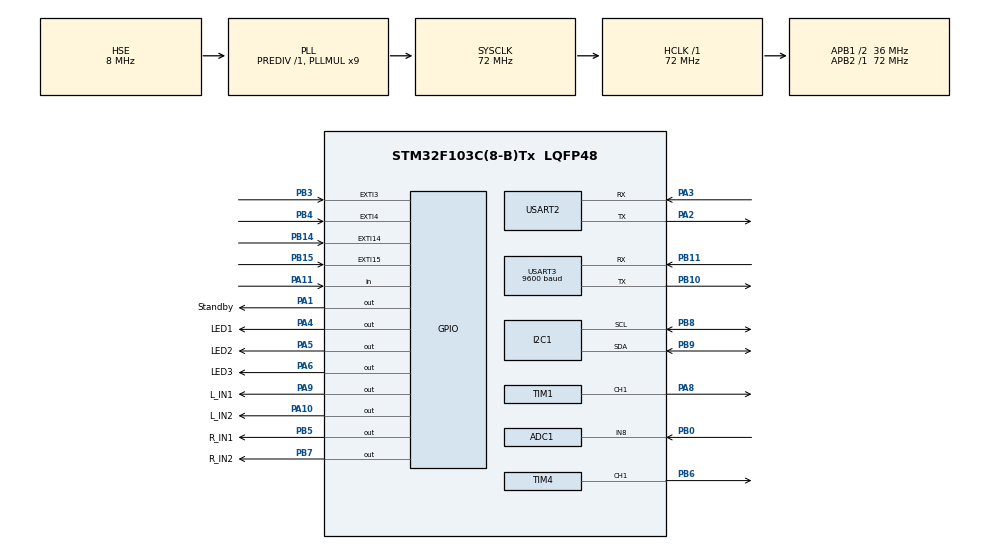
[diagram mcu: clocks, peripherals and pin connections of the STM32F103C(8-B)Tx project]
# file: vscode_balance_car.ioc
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ADC1.Channel-10\#ChannelInjectedConversion=ADC_CHANNEL_8
ADC1.EnableInjectedConversion=ENABLE
ADC1.EnableRegularConversion=DISABLE
ADC1.ExternalTrigInjecConv=ADC_EXTERNALTRIGINJECCONV_T2_TRGO
ADC1.InjNumberOfConversion=1
ADC1.InjectedOffset-10\#ChannelInjectedConversion=0
ADC1.InjectedRank-10\#ChannelInjectedConversion=1
ADC1.SamplingTime-10\#ChannelInjectedConversion=ADC_SAMPLETIME_1CYCLE_5
ADC1.master=1
I2C1.I2C_Mode=I2C_Fast
Mcu.Family=STM32F1
Mcu.Name=STM32F103C(8-B)Tx
Mcu.Package=LQFP48
NVIC.ADC1_2_IRQn=true\:2\:0\:true\:false\:true\:true\:true\:true
NVIC.EXTI15_10_IRQn=true\:0\:0\:false\:false\:true\:true\:true\:true
NVIC.EXTI3_IRQn=true\:0\:0\:false\:false\:true\:true\:true\:true
NVIC.PriorityGroup=NVIC_PRIORITYGROUP_4
NVIC.USART3_IRQn=true\:0\:0\:false\:false\:true\:true\:true\:true
PA1.GPIO_Label=Standby
PA1.Signal=GPIO_Output
PA10.GPIO_Label=L_IN2
PA10.GPIO_ModeDefaultOutputPP=GPIO_MODE_OUTPUT_PP
PA10.Signal=GPIO_Output
PA11.GPIO_PuPd=GPIO_PULLUP
PA11.Signal=GPIO_Input
PA13.Mode=Serial_Wire
PA13.Signal=SYS_JTMS-SWDIO
PA14.Mode=Serial_Wire
PA14.Signal=SYS_JTCK-SWCLK
PA2.GPIO_Speed=GPIO_SPEED_FREQ_HIGH
PA2.Mode=Asynchronous
PA2.Signal=USART2_TX
PA3.GPIO_PuPd=GPIO_PULLUP
PA3.Mode=Asynchronous
PA3.Signal=USART2_RX
PA4.GPIO_Label=LED1
PA4.Signal=GPIO_Output
PA5.GPIO_Label=LED2
PA5.Signal=GPIO_Output
PA6.GPIO_Label=LED3
PA6.Signal=GPIO_Output
PA8.Signal=S_TIM1_CH1
PA9.GPIO_Label=L_IN1
PA9.GPIO_ModeDefaultOutputPP=GPIO_MODE_OUTPUT_PP
PA9.Signal=GPIO_Output
PB0.Signal=ADCx_IN8
PB10.GPIO_Speed=GPIO_SPEED_FREQ_LOW
PB10.Mode=Asynchronous
PB10.Signal=USART3_TX
PB11.GPIO_PuPd=GPIO_PULLUP
PB11.Mode=Asynchronous
PB11.Signal=USART3_RX
PB14.GPIO_ModeDefaultEXTI=GPIO_MODE_IT_RISING_FALLING
PB14.GPIO_PuPd=GPIO_PULLUP
PB14.Signal=GPXTI14
PB15.GPIO_PuPd=GPIO_PULLUP
PB15.Signal=GPXTI15
PB3.GPIO_ModeDefaultEXTI=GPIO_MODE_IT_RISING_FALLING
PB3.GPIO_PuPd=GPIO_PULLUP
PB3.Signal=GPXTI3
PB4.GPIO_PuPd=GPIO_PULLUP
PB4.Signal=GPXTI4
PB5.GPIO_Label=R_IN1
PB5.Signal=GPIO_Output
PB6.Signal=S_TIM4_CH1
PB7.GPIO_Label=R_IN2
PB7.Signal=GPIO_Output
PB8.GPIO_Speed=GPIO_SPEED_FREQ_LOW
PB8.Mode=I2C
PB8.Signal=I2C1_SCL
PB9.GPIO_Speed=GPIO_SPEED_FREQ_LOW
PB9.Mode=I2C
PB9.Signal=I2C1_SDA
PD0-OSC_IN.Mode=HSE-External-Oscillator
PD0-OSC_IN.Signal=RCC_OSC_IN
PD1-OSC_OUT.Mode=HSE-External-Oscillator
PD1-OSC_OUT.Signal=RCC_OSC_OUT
ProjectManager.HeapSize=0x200
ProjectManager.StackSize=0x400
ProjectManager.TargetToolchain=CMake
RCC.ADCPresc=RCC_ADCPCLK2_DIV6
RCC.AHBFreq_Value=72000000
RCC.APB1CLKDivider=RCC_HCLK_DIV2
RCC.APB1Freq_Value=36000000
RCC.APB1TimFreq_Value=72000000
RCC.APB2Freq_Value=72000000
RCC.APB2TimFreq_Value=72000000
RCC.HCLKFreq_Value=72000000
RCC.PLLMUL=RCC_PLL_MUL9
RCC.PLLSourceVirtual=RCC_PLLSOURCE_HSE
RCC.SYSCLKFreq_VALUE=72000000
RCC.SYSCLKSource=RCC_SYSCLKSOURCE_PLLCLK
RCC.USBFreq_Value=72000000
SH.ADCx_IN8.0=ADC1_IN8,IN8
SH.S_TIM1_CH1.0=TIM1_CH1,PWM Generation1 CH1
SH.S_TIM4_CH1.0=TIM4_CH1,PWM Generation1 CH1
TIM1.Channel-PWM\ Generation1\ CH1=TIM_CHANNEL_1
TIM1.Period=999
TIM2.Period=9999
TIM2.Prescaler=71
TIM2.TIM_MasterOutputTrigger=TIM_TRGO_UPDATE
TIM4.Channel-PWM\ Generation1\ CH1=TIM_CHANNEL_1
TIM4.Period=999
USART2.VirtualMode=VM_ASYNC
USART3.BaudRate=9600
USART3.VirtualMode=VM_ASYNC
VP_TIM1_VS_ClockSourceINT.Mode=Internal
VP_TIM2_VS_ClockSourceINT.Mode=Internal
VP_TIM4_VS_ClockSourceINT.Mode=Internal
board=custom

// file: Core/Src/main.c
/* USER CODE BEGIN Header */
/**
  ******************************************************************************
  * @file           : main.c
  * @brief          : Main program body
  ******************************************************************************
  * @attention
  *
  * Copyright (c) 2026 STMicroelectronics.
  * All rights reserved.
  *
  * This software is licensed under terms that can be found in the LICENSE file
  * in the root directory of this software component.
  * If no LICENSE file comes with this software, it is provided AS-IS.
  *
  ******************************************************************************
  */
/* USER CODE END Header */
#include "main.h"

/* USER CODE BEGIN Includes */

#include "app_bat.h"
#include "app_usart2.h"
#include "app_button.h"
#include "app_pwm.h"
#include "app_mpu6050.h"
#include "app_encoder.h"
#include "app_motor.h"
#include "pid.h"
#include "delay.h"
#include "task.h"
#include "app_control.h"
#include "app_remote_control.h"
//#include "bat_test.h"
//#include "pwm_test.h"
//#include "encoder_test.h"
//#include "mpu6050_test.h"

/* USER CODE END Includes */

ADC_HandleTypeDef hadc1;

I2C_HandleTypeDef hi2c1;

TIM_HandleTypeDef htim1;
TIM_HandleTypeDef htim2;
TIM_HandleTypeDef htim4;

UART_HandleTypeDef huart2;
UART_HandleTypeDef huart3;

void SystemClock_Config(void);
static void MX_GPIO_Init(void);
static void MX_ADC1_Init(void);
static void MX_TIM2_Init(void);
static void MX_USART2_UART_Init(void);
static void MX_TIM1_Init(void);
static void MX_TIM4_Init(void);
static void MX_I2C1_Init(void);
static void MX_USART3_UART_Init(void);

int main(void)
{

  /* MCU Configuration--------------------------------------------------------*/

  /* Reset of all peripherals, Initializes the Flash interface and the Systick. */
  HAL_Init();

  /* Configure the system clock */
  SystemClock_Config();

  /* Initialize all configured peripherals */
  MX_GPIO_Init();
  MX_ADC1_Init();
  MX_TIM2_Init();
  MX_USART2_UART_Init();
  MX_TIM1_Init();
  MX_TIM4_Init();
  MX_I2C1_Init();
  MX_USART3_UART_Init();
  /* USER CODE BEGIN 2 */
  App_Button_Init();
  App_Encoder_Init();
  App_PWM_Init();//TB6612
  App_Bat_Init();
  App_Motor_Init();
  App_MPU6050_Init();
  App_Control_Init();
  App_Remote_Control_Init();

  /* USER CODE END 2 */

  /* Infinite loop */
  /* USER CODE BEGIN WHILE */

  //MPU6050_Euler_Test();
  while (1)
  {

    App_Button_Proc();
    App_Bat_Proc();
    App_Motor_Proc();
    App_MPU6050_Proc();
    App_Control_Proc();
    App_Remote_Control_Proc();

    //App_MPU6050_Proc();
    /* USER CODE END WHILE */

  }
}

void SystemClock_Config(void)
{
  RCC_OscInitTypeDef RCC_OscInitStruct = {0};
  RCC_ClkInitTypeDef RCC_ClkInitStruct = {0};
  RCC_PeriphCLKInitTypeDef PeriphClkInit = {0};

  /** Initializes the RCC Oscillators according to the specified parameters
  * in the RCC_OscInitTypeDef structure.
  */
  RCC_OscInitStruct.OscillatorType = RCC_OSCILLATORTYPE_HSE;
  RCC_OscInitStruct.HSEState = RCC_HSE_ON;
  RCC_OscInitStruct.HSEPredivValue = RCC_HSE_PREDIV_DIV1;
  RCC_OscInitStruct.HSIState = RCC_HSI_ON;
  RCC_OscInitStruct.PLL.PLLState = RCC_PLL_ON;
  RCC_OscInitStruct.PLL.PLLSource = RCC_PLLSOURCE_HSE;
  RCC_OscInitStruct.PLL.PLLMUL = RCC_PLL_MUL9;
  if (HAL_RCC_OscConfig(&RCC_OscInitStruct) != HAL_OK)
  {
    Error_Handler();
  }

  /** Initializes the CPU, AHB and APB buses clocks
  */
  RCC_ClkInitStruct.ClockType = RCC_CLOCKTYPE_HCLK|RCC_CLOCKTYPE_SYSCLK
                              |RCC_CLOCKTYPE_PCLK1|RCC_CLOCKTYPE_PCLK2;
  RCC_ClkInitStruct.SYSCLKSource = RCC_SYSCLKSOURCE_PLLCLK;
  RCC_ClkInitStruct.AHBCLKDivider = RCC_SYSCLK_DIV1;
  RCC_ClkInitStruct.APB1CLKDivider = RCC_HCLK_DIV2;
  RCC_ClkInitStruct.APB2CLKDivider = RCC_HCLK_DIV1;

  if (HAL_RCC_ClockConfig(&RCC_ClkInitStruct, FLASH_LATENCY_2) != HAL_OK)
  {
    Error_Handler();
  }
  PeriphClkInit.PeriphClockSelection = RCC_PERIPHCLK_ADC;
  PeriphClkInit.AdcClockSelection = RCC_ADCPCLK2_DIV6;
  if (HAL_RCCEx_PeriphCLKConfig(&PeriphClkInit) != HAL_OK)
  {
    Error_Handler();
  }
}

static void MX_ADC1_Init(void)
{

  ADC_InjectionConfTypeDef sConfigInjected = {0};

  /** Common config
  */
  hadc1.Instance = ADC1;
  hadc1.Init.ScanConvMode = ADC_SCAN_DISABLE;
  hadc1.Init.ContinuousConvMode = DISABLE;
  hadc1.Init.DiscontinuousConvMode = DISABLE;
  hadc1.Init.ExternalTrigConv = ADC_SOFTWARE_START;
  hadc1.Init.DataAlign = ADC_DATAALIGN_RIGHT;
  hadc1.Init.NbrOfConversion = 1;
  if (HAL_ADC_Init(&hadc1) != HAL_OK)
  {
    Error_Handler();
  }

  /** Configure Injected Channel
  */
  sConfigInjected.InjectedChannel = ADC_CHANNEL_8;
  sConfigInjected.InjectedRank = ADC_INJECTED_RANK_1;
  sConfigInjected.InjectedNbrOfConversion = 1;
  sConfigInjected.InjectedSamplingTime = ADC_SAMPLETIME_1CYCLE_5;
  sConfigInjected.ExternalTrigInjecConv = ADC_EXTERNALTRIGINJECCONV_T2_TRGO;
  sConfigInjected.AutoInjectedConv = DISABLE;
  sConfigInjected.InjectedDiscontinuousConvMode = DISABLE;
  sConfigInjected.InjectedOffset = 0;
  if (HAL_ADCEx_InjectedConfigChannel(&hadc1, &sConfigInjected) != HAL_OK)
  {
    Error_Handler();
  }

}

static void MX_I2C1_Init(void)
{

  hi2c1.Instance = I2C1;
  hi2c1.Init.ClockSpeed = 400000;
  hi2c1.Init.DutyCycle = I2C_DUTYCYCLE_2;
  hi2c1.Init.OwnAddress1 = 0;
  hi2c1.Init.AddressingMode = I2C_ADDRESSINGMODE_7BIT;
  hi2c1.Init.DualAddressMode = I2C_DUALADDRESS_DISABLE;
  hi2c1.Init.OwnAddress2 = 0;
  hi2c1.Init.GeneralCallMode = I2C_GENERALCALL_DISABLE;
  hi2c1.Init.NoStretchMode = I2C_NOSTRETCH_DISABLE;
  if (HAL_I2C_Init(&hi2c1) != HAL_OK)
  {
    Error_Handler();
  }

}

static void MX_TIM1_Init(void)
{

  TIM_ClockConfigTypeDef sClockSourceConfig = {0};
  TIM_MasterConfigTypeDef sMasterConfig = {0};
  TIM_OC_InitTypeDef sConfigOC = {0};
  TIM_BreakDeadTimeConfigTypeDef sBreakDeadTimeConfig = {0};

  htim1.Instance = TIM1;
  htim1.Init.Prescaler = 0;
  htim1.Init.CounterMode = TIM_COUNTERMODE_UP;
  htim1.Init.Period = 999;
  htim1.Init.ClockDivision = TIM_CLOCKDIVISION_DIV1;
  htim1.Init.RepetitionCounter = 0;
  htim1.Init.AutoReloadPreload = TIM_AUTORELOAD_PRELOAD_DISABLE;
  if (HAL_TIM_Base_Init(&htim1) != HAL_OK)
  {
    Error_Handler();
  }
  sClockSourceConfig.ClockSource = TIM_CLOCKSOURCE_INTERNAL;
  if (HAL_TIM_ConfigClockSource(&htim1, &sClockSourceConfig) != HAL_OK)
  {
    Error_Handler();
  }
  if (HAL_TIM_PWM_Init(&htim1) != HAL_OK)
  {
    Error_Handler();
  }
  sMasterConfig.MasterOutputTrigger = TIM_TRGO_RESET;
  sMasterConfig.MasterSlaveMode = TIM_MASTERSLAVEMODE_DISABLE;
  if (HAL_TIMEx_MasterConfigSynchronization(&htim1, &sMasterConfig) != HAL_OK)
  {
    Error_Handler();
  }
  sConfigOC.OCMode = TIM_OCMODE_PWM1;
  sConfigOC.Pulse = 0;
  sConfigOC.OCPolarity = TIM_OCPOLARITY_HIGH;
  sConfigOC.OCNPolarity = TIM_OCNPOLARITY_HIGH;
  sConfigOC.OCFastMode = TIM_OCFAST_DISABLE;
  sConfigOC.OCIdleState = TIM_OCIDLESTATE_RESET;
  sConfigOC.OCNIdleState = TIM_OCNIDLESTATE_RESET;
  if (HAL_TIM_PWM_ConfigChannel(&htim1, &sConfigOC, TIM_CHANNEL_1) != HAL_OK)
  {
    Error_Handler();
  }
  sBreakDeadTimeConfig.OffStateRunMode = TIM_OSSR_DISABLE;
  sBreakDeadTimeConfig.OffStateIDLEMode = TIM_OSSI_DISABLE;
  sBreakDeadTimeConfig.LockLevel = TIM_LOCKLEVEL_OFF;
  sBreakDeadTimeConfig.DeadTime = 0;
  sBreakDeadTimeConfig.BreakState = TIM_BREAK_DISABLE;
  sBreakDeadTimeConfig.BreakPolarity = TIM_BREAKPOLARITY_HIGH;
  sBreakDeadTimeConfig.AutomaticOutput = TIM_AUTOMATICOUTPUT_DISABLE;
  if (HAL_TIMEx_ConfigBreakDeadTime(&htim1, &sBreakDeadTimeConfig) != HAL_OK)
  {
    Error_Handler();
  }
  HAL_TIM_MspPostInit(&htim1);

}

static void MX_TIM2_Init(void)
{

  TIM_ClockConfigTypeDef sClockSourceConfig = {0};
  TIM_MasterConfigTypeDef sMasterConfig = {0};

  htim2.Instance = TIM2;
  htim2.Init.Prescaler = 71;
  htim2.Init.CounterMode = TIM_COUNTERMODE_UP;
  htim2.Init.Period = 9999;
  htim2.Init.ClockDivision = TIM_CLOCKDIVISION_DIV1;
  htim2.Init.AutoReloadPreload = TIM_AUTORELOAD_PRELOAD_DISABLE;
  if (HAL_TIM_Base_Init(&htim2) != HAL_OK)
  {
    Error_Handler();
  }
  sClockSourceConfig.ClockSource = TIM_CLOCKSOURCE_INTERNAL;
  if (HAL_TIM_ConfigClockSource(&htim2, &sClockSourceConfig) != HAL_OK)
  {
    Error_Handler();
  }
  sMasterConfig.MasterOutputTrigger = TIM_TRGO_UPDATE;
  sMasterConfig.MasterSlaveMode = TIM_MASTERSLAVEMODE_DISABLE;
  if (HAL_TIMEx_MasterConfigSynchronization(&htim2, &sMasterConfig) != HAL_OK)
  {
    Error_Handler();
  }

}

static void MX_TIM4_Init(void)
{

  TIM_ClockConfigTypeDef sClockSourceConfig = {0};
  TIM_MasterConfigTypeDef sMasterConfig = {0};
  TIM_OC_InitTypeDef sConfigOC = {0};

  htim4.Instance = TIM4;
  htim4.Init.Prescaler = 0;
  htim4.Init.CounterMode = TIM_COUNTERMODE_UP;
  htim4.Init.Period = 999;
  htim4.Init.ClockDivision = TIM_CLOCKDIVISION_DIV1;
  htim4.Init.AutoReloadPreload = TIM_AUTORELOAD_PRELOAD_DISABLE;
  if (HAL_TIM_Base_Init(&htim4) != HAL_OK)
  {
    Error_Handler();
  }
  sClockSourceConfig.ClockSource = TIM_CLOCKSOURCE_INTERNAL;
  if (HAL_TIM_ConfigClockSource(&htim4, &sClockSourceConfig) != HAL_OK)
  {
    Error_Handler();
  }
  if (HAL_TIM_PWM_Init(&htim4) != HAL_OK)
  {
    Error_Handler();
  }
  sMasterConfig.MasterOutputTrigger = TIM_TRGO_RESET;
  sMasterConfig.MasterSlaveMode = TIM_MASTERSLAVEMODE_DISABLE;
  if (HAL_TIMEx_MasterConfigSynchronization(&htim4, &sMasterConfig) != HAL_OK)
  {
    Error_Handler();
  }
  sConfigOC.OCMode = TIM_OCMODE_PWM1;
  sConfigOC.Pulse = 0;
  sConfigOC.OCPolarity = TIM_OCPOLARITY_HIGH;
  sConfigOC.OCFastMode = TIM_OCFAST_DISABLE;
  if (HAL_TIM_PWM_ConfigChannel(&htim4, &sConfigOC, TIM_CHANNEL_1) != HAL_OK)
  {
    Error_Handler();
  }
  HAL_TIM_MspPostInit(&htim4);

}

static void MX_USART2_UART_Init(void)
{

  huart2.Instance = USART2;
  huart2.Init.BaudRate = 115200;
  huart2.Init.WordLength = UART_WORDLENGTH_8B;
  huart2.Init.StopBits = UART_STOPBITS_1;
  huart2.Init.Parity = UART_PARITY_NONE;
  huart2.Init.Mode = UART_MODE_TX_RX;
  huart2.Init.HwFlowCtl = UART_HWCONTROL_NONE;
  huart2.Init.OverSampling = UART_OVERSAMPLING_16;
  if (HAL_UART_Init(&huart2) != HAL_OK)
  {
    Error_Handler();
  }

}

static void MX_USART3_UART_Init(void)
{

  huart3.Instance = USART3;
  huart3.Init.BaudRate = 9600;
  huart3.Init.WordLength = UART_WORDLENGTH_8B;
  huart3.Init.StopBits = UART_STOPBITS_1;
  huart3.Init.Parity = UART_PARITY_NONE;
  huart3.Init.Mode = UART_MODE_TX_RX;
  huart3.Init.HwFlowCtl = UART_HWCONTROL_NONE;
  huart3.Init.OverSampling = UART_OVERSAMPLING_16;
  if (HAL_UART_Init(&huart3) != HAL_OK)
  {
    Error_Handler();
  }

}

static void MX_GPIO_Init(void)
{
  GPIO_InitTypeDef GPIO_InitStruct = {0};

  /* GPIO Ports Clock Enable */
  __HAL_RCC_GPIOD_CLK_ENABLE();
  __HAL_RCC_GPIOA_CLK_ENABLE();
  __HAL_RCC_GPIOB_CLK_ENABLE();

  /*Configure GPIO pin Output Level */
  HAL_GPIO_WritePin(GPIOA, Standby_Pin|LED1_Pin|LED2_Pin|LED3_Pin
                          |L_IN1_Pin|L_IN2_Pin, GPIO_PIN_RESET);

  /*Configure GPIO pin Output Level */
  HAL_GPIO_WritePin(GPIOB, R_IN1_Pin|R_IN2_Pin, GPIO_PIN_RESET);

  /*Configure GPIO pins : Standby_Pin LED1_Pin LED2_Pin LED3_Pin
                           L_IN1_Pin L_IN2_Pin */
  GPIO_InitStruct.Pin = Standby_Pin|LED1_Pin|LED2_Pin|LED3_Pin
                          |L_IN1_Pin|L_IN2_Pin;
  GPIO_InitStruct.Mode = GPIO_MODE_OUTPUT_PP;
  GPIO_InitStruct.Pull = GPIO_NOPULL;
  GPIO_InitStruct.Speed = GPIO_SPEED_FREQ_LOW;
  HAL_GPIO_Init(GPIOA, &GPIO_InitStruct);

  /*Configure GPIO pins : PB14 PB3 */
  GPIO_InitStruct.Pin = GPIO_PIN_14|GPIO_PIN_3;
  GPIO_InitStruct.Mode = GPIO_MODE_IT_RISING_FALLING;
  GPIO_InitStruct.Pull = GPIO_PULLUP;
  HAL_GPIO_Init(GPIOB, &GPIO_InitStruct);

  /*Configure GPIO pins : PB15 PB4 */
  GPIO_InitStruct.Pin = GPIO_PIN_15|GPIO_PIN_4;
  GPIO_InitStruct.Mode = GPIO_MODE_IT_RISING;
  GPIO_InitStruct.Pull = GPIO_PULLUP;
  HAL_GPIO_Init(GPIOB, &GPIO_InitStruct);

  /*Configure GPIO pin : PA11 */
  GPIO_InitStruct.Pin = GPIO_PIN_11;
  GPIO_InitStruct.Mode = GPIO_MODE_INPUT;
  GPIO_InitStruct.Pull = GPIO_PULLUP;
  HAL_GPIO_Init(GPIOA, &GPIO_InitStruct);

  /*Configure GPIO pins : R_IN1_Pin R_IN2_Pin */
  GPIO_InitStruct.Pin = R_IN1_Pin|R_IN2_Pin;
  GPIO_InitStruct.Mode = GPIO_MODE_OUTPUT_PP;
  GPIO_InitStruct.Pull = GPIO_NOPULL;
  GPIO_InitStruct.Speed = GPIO_SPEED_FREQ_LOW;
  HAL_GPIO_Init(GPIOB, &GPIO_InitStruct);

  /* EXTI interrupt init*/
  HAL_NVIC_SetPriority(EXTI3_IRQn, 0, 0);
  HAL_NVIC_EnableIRQ(EXTI3_IRQn);

  HAL_NVIC_SetPriority(EXTI15_10_IRQn, 0, 0);
  HAL_NVIC_EnableIRQ(EXTI15_10_IRQn);

}

void Error_Handler(void)
{
  __disable_irq();
  while (1)
  {
  }
}
